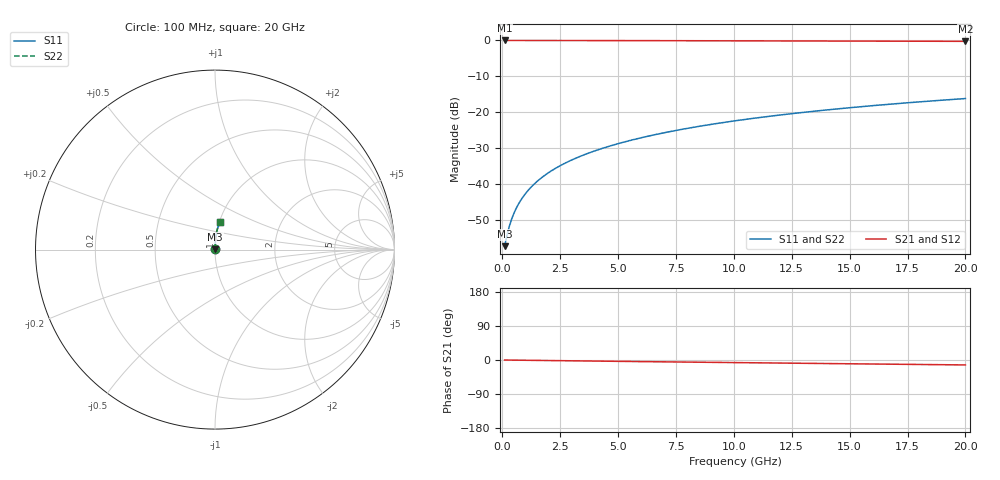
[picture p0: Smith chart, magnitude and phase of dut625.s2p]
! Touchstone file exported from HFSS 2024.1.0
!  File:  C:/UserFiles/LocalFiles/RDL_TSV_Batchsim/temp_RDL_bottom_625_1779784239.aedt
!  Generated:  04:33:13 PM May 26, 2026
!  Design:  RDL_bottom
!  Project:  temp_RDL_bottom_625_1779784239
!  Setup:  Setup1
!  Solution:  Sweep
! Variables:
!  dtsv = 10.80580581um
!  hbump = 3um
!  htsv = 62.8um
!  ldown = 149.76um
!  lrdl = 100um
!  p = 40
!  p1 = 44.68um
!  rhole = 1um
!  t = 450um
!  tdown = 3.22um
!  trdl = 3.915915916um
!  wdown = 18.18um
!  wrdl = 20um
# GHz S MA R 50.000000
! Terminal data exported
! Port[1] = RDL1_T1
! Port[2] = RDL1_T2
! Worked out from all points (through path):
!   200 points, 100 MHz to 20 GHz, reference 50 ohm
!   highest |S21| = -0.01 dB at 100 MHz (marker M1); lowest = -0.3 dB at 20 GHz (marker M2)
!   group delay of S21, straight-line fit = 1.8 ps
!   lowest |S11| = -57.3 dB at 100 MHz (marker M3), VSWR 1.00, Z = 50.1 + j0.0769 ohm
!   |S11| at or under -10 dB: start of sweep to end of sweep
!   |S22| runs from -57.3 to -16.2 dB; largest |S21 - S12| = 2.2e-15
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0.1  0.001367 34.2  0.9989 -0.1  0.9989 -0.1  0.001367 34.2
! Gamma 0 0 0 0
! Port Impedance 50 0 50 0
0.2  0.001914 52.7  0.9988 -0.2  0.9988 -0.2  0.001914 52.7
0.3  0.002558 62.1  0.9988 -0.2  0.9988 -0.2  0.002558 62.1
0.4  0.003228 67.6  0.9987 -0.3  0.9987 -0.3  0.003228 67.6
0.5  0.003907 71.2  0.9987 -0.4  0.9987 -0.4  0.003907 71.2
0.6  0.004591 73.8  0.9986 -0.4  0.9986 -0.4  0.004591 73.8
0.8  0.005969 77.3  0.9986 -0.6  0.9986 -0.6  0.005969 77.3
1.1  0.008058 80.5  0.9984 -0.8  0.9984 -0.8  0.008058 80.5
1.3  0.009463 81.9  0.9983 -0.9  0.9983 -0.9  0.009463 81.9
1.6  0.01159 83.3  0.9982 -1.2  0.9982 -1.2  0.01159 83.3
2.1  0.01516 84.9  0.9979 -1.5  0.9979 -1.5  0.01516 84.9
2.7  0.01949 86.1  0.9974 -1.9  0.9974 -1.9  0.01949 86.1
3.5  0.02534 86.9  0.9966 -2.5  0.9966 -2.5  0.02534 86.9
4.2  0.03053 87.3  0.9959 -3.0  0.9959 -3.0  0.03053 87.3
5  0.03654 87.6  0.9949 -3.6  0.9949 -3.6  0.03654 87.6
5.9  0.0434 87.6  0.9936 -4.2  0.9936 -4.2  0.0434 87.6
6.8  0.05035 87.5  0.9923 -4.8  0.9923 -4.8  0.05035 87.5
8.3  0.0621 87.1  0.99 -5.8  0.99 -5.8  0.06211 87.1
10.1  0.0764 86.3  0.9872 -6.9  0.9872 -6.9  0.0764 86.3
13.4  0.1028 84.4  0.982 -9.0  0.982 -9.0  0.1028 84.4
16.7  0.1291 82.2  0.9767 -11.0  0.9767 -11.0  0.1292 82.2
20  0.1551 80.0  0.9712 -13.0  0.9712 -13.0  0.1551 80.0
